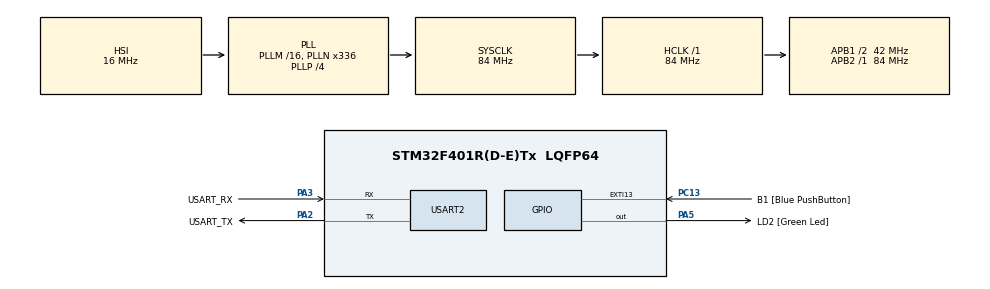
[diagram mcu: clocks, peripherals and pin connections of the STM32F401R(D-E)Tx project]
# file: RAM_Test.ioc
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Mcu.Family=STM32F4
Mcu.Name=STM32F401R(D-E)Tx
Mcu.Package=LQFP64
NVIC.PriorityGroup=NVIC_PRIORITYGROUP_0
PA13.GPIO_Label=TMS
PA13.Mode=Serial_Wire
PA13.Signal=SYS_JTMS-SWDIO
PA14.GPIO_Label=TCK
PA14.Mode=Serial_Wire
PA14.Signal=SYS_JTCK-SWCLK
PA2.GPIO_Label=USART_TX
PA2.GPIO_Mode=GPIO_MODE_AF_PP
PA2.GPIO_PuPd=GPIO_NOPULL
PA2.GPIO_Speed=GPIO_SPEED_FREQ_LOW
PA2.Mode=Asynchronous
PA2.Signal=USART2_TX
PA3.GPIO_Label=USART_RX
PA3.GPIO_Mode=GPIO_MODE_AF_PP
PA3.GPIO_PuPd=GPIO_NOPULL
PA3.GPIO_Speed=GPIO_SPEED_FREQ_LOW
PA3.Mode=Asynchronous
PA3.Signal=USART2_RX
PA5.GPIO_Label=LD2 [Green Led]
PA5.GPIO_Mode=GPIO_MODE_OUTPUT_PP
PA5.GPIO_PuPd=GPIO_NOPULL
PA5.GPIO_Speed=GPIO_SPEED_FREQ_LOW
PA5.Signal=GPIO_Output
PB3.GPIO_Label=SWO
PB3.Signal=SYS_JTDO-SWO
PC13-ANTI_TAMP.GPIO_Label=B1 [Blue PushButton]
PC13-ANTI_TAMP.GPIO_ModeDefaultEXTI=GPIO_MODE_IT_FALLING
PC13-ANTI_TAMP.GPIO_PuPd=GPIO_NOPULL
PC13-ANTI_TAMP.Signal=GPXTI13
PC14-OSC32_IN.Mode=LSE-External-Oscillator
PC14-OSC32_IN.Signal=RCC_OSC32_IN
PC15-OSC32_OUT.Mode=LSE-External-Oscillator
PC15-OSC32_OUT.Signal=RCC_OSC32_OUT
PH0\ -\ OSC_IN.Mode=HSE-External-Clock-Source
PH0\ -\ OSC_IN.Signal=RCC_OSC_IN
PH1\ -\ OSC_OUT.Mode=HSE-External-Clock-Source
PH1\ -\ OSC_OUT.Signal=RCC_OSC_OUT
ProjectManager.HeapSize=0x200
ProjectManager.StackSize=0x400
ProjectManager.TargetToolchain=STM32CubeIDE
RCC.48MHZClocksFreq_Value=48000000
RCC.AHBFreq_Value=84000000
RCC.APB1CLKDivider=RCC_HCLK_DIV2
RCC.APB1Freq_Value=42000000
RCC.APB1TimFreq_Value=84000000
RCC.APB2Freq_Value=84000000
RCC.APB2TimFreq_Value=84000000
RCC.CortexFreq_Value=84000000
RCC.HCLKFreq_Value=84000000
RCC.HSE_VALUE=8000000
RCC.HSI_VALUE=16000000
RCC.PLLN=336
RCC.PLLP=RCC_PLLP_DIV4
RCC.PLLQ=7
RCC.SYSCLKFreq_VALUE=84000000
RCC.SYSCLKSource=RCC_SYSCLKSOURCE_PLLCLK
RCC.VCOOutputFreq_Value=336000000
USART2.VirtualMode=VM_ASYNC
board=NUCLEO-F401RE

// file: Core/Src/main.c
/* USER CODE BEGIN Header */
/**
  ******************************************************************************
  * @file           : main.c
  * @brief          : Main program body
  ******************************************************************************
  * @attention
  *
  * Copyright (c) 2024 STMicroelectronics.
  * All rights reserved.
  *
  * This software is licensed under terms that can be found in the LICENSE file
  * in the root directory of this software component.
  * If no LICENSE file comes with this software, it is provided AS-IS.
  *
  ******************************************************************************
  */
/* USER CODE END Header */
#include "main.h"

/* USER CODE BEGIN PD */
#define RAM_START_ADDR  ((uint32_t)0x20000000)  // Start address of SRAM for STM32F4 series
#define RAM_END_ADDR    ((uint32_t)0x20017FFF)  // End address of SRAM for STM32F4 series (128 KB)
/* USER CODE END PD */

UART_HandleTypeDef huart2;

void SystemClock_Config(void);
static void MX_GPIO_Init(void);
static void MX_USART2_UART_Init(void);
/* USER CODE BEGIN PFP */
void RAM_MarchC_Test(void);
/* USER CODE END PFP */

int main(void)
{

  /* MCU Configuration--------------------------------------------------------*/

  /* Reset of all peripherals, Initializes the Flash interface and the Systick. */
  HAL_Init();

  /* Configure the system clock */
  SystemClock_Config();

  /* Initialize all configured peripherals */
  MX_GPIO_Init();
  MX_USART2_UART_Init();
  /* USER CODE BEGIN 2 */
  RAM_MarchC_Test();  // Run RAM March C test
  printf("succes");
  /* USER CODE END 2 */

  /* Infinite loop */
  while (1)
  {

  }
}

void SystemClock_Config(void)
{
  RCC_OscInitTypeDef RCC_OscInitStruct = {0};
  RCC_ClkInitTypeDef RCC_ClkInitStruct = {0};

  /** Configure the main internal regulator output voltage
  */
  __HAL_RCC_PWR_CLK_ENABLE();
  __HAL_PWR_VOLTAGESCALING_CONFIG(PWR_REGULATOR_VOLTAGE_SCALE2);

  /** Initializes the RCC Oscillators according to the specified parameters
  * in the RCC_OscInitTypeDef structure.
  */
  RCC_OscInitStruct.OscillatorType = RCC_OSCILLATORTYPE_HSI;
  RCC_OscInitStruct.HSIState = RCC_HSI_ON;
  RCC_OscInitStruct.HSICalibrationValue = RCC_HSICALIBRATION_DEFAULT;
  RCC_OscInitStruct.PLL.PLLState = RCC_PLL_ON;
  RCC_OscInitStruct.PLL.PLLSource = RCC_PLLSOURCE_HSI;
  RCC_OscInitStruct.PLL.PLLM = 16;
  RCC_OscInitStruct.PLL.PLLN = 336;
  RCC_OscInitStruct.PLL.PLLP = RCC_PLLP_DIV4;
  RCC_OscInitStruct.PLL.PLLQ = 7;
  if (HAL_RCC_OscConfig(&RCC_OscInitStruct) != HAL_OK)
  {
    Error_Handler();
  }

  /** Initializes the CPU, AHB and APB buses clocks
  */
  RCC_ClkInitStruct.ClockType = RCC_CLOCKTYPE_HCLK|RCC_CLOCKTYPE_SYSCLK
                              |RCC_CLOCKTYPE_PCLK1|RCC_CLOCKTYPE_PCLK2;
  RCC_ClkInitStruct.SYSCLKSource = RCC_SYSCLKSOURCE_PLLCLK;
  RCC_ClkInitStruct.AHBCLKDivider = RCC_SYSCLK_DIV1;
  RCC_ClkInitStruct.APB1CLKDivider = RCC_HCLK_DIV2;
  RCC_ClkInitStruct.APB2CLKDivider = RCC_HCLK_DIV1;

  if (HAL_RCC_ClockConfig(&RCC_ClkInitStruct, FLASH_LATENCY_2) != HAL_OK)
  {
    Error_Handler();
  }
}

static void MX_USART2_UART_Init(void)
{

  huart2.Instance = USART2;
  huart2.Init.BaudRate = 115200;
  huart2.Init.WordLength = UART_WORDLENGTH_8B;
  huart2.Init.StopBits = UART_STOPBITS_1;
  huart2.Init.Parity = UART_PARITY_NONE;
  huart2.Init.Mode = UART_MODE_TX_RX;
  huart2.Init.HwFlowCtl = UART_HWCONTROL_NONE;
  huart2.Init.OverSampling = UART_OVERSAMPLING_16;
  if (HAL_UART_Init(&huart2) != HAL_OK)
  {
    Error_Handler();
  }

}

static void MX_GPIO_Init(void)
{
  GPIO_InitTypeDef GPIO_InitStruct = {0};

  /* GPIO Ports Clock Enable */
  __HAL_RCC_GPIOC_CLK_ENABLE();
  __HAL_RCC_GPIOH_CLK_ENABLE();
  __HAL_RCC_GPIOA_CLK_ENABLE();
  __HAL_RCC_GPIOB_CLK_ENABLE();

  /*Configure GPIO pin Output Level */
  HAL_GPIO_WritePin(LD2_GPIO_Port, LD2_Pin, GPIO_PIN_RESET);

  /*Configure GPIO pin : B1_Pin */
  GPIO_InitStruct.Pin = B1_Pin;
  GPIO_InitStruct.Mode = GPIO_MODE_IT_FALLING;
  GPIO_InitStruct.Pull = GPIO_NOPULL;
  HAL_GPIO_Init(B1_GPIO_Port, &GPIO_InitStruct);

  /*Configure GPIO pin : LD2_Pin */
  GPIO_InitStruct.Pin = LD2_Pin;
  GPIO_InitStruct.Mode = GPIO_MODE_OUTPUT_PP;
  GPIO_InitStruct.Pull = GPIO_NOPULL;
  GPIO_InitStruct.Speed = GPIO_SPEED_FREQ_LOW;
  HAL_GPIO_Init(LD2_GPIO_Port, &GPIO_InitStruct);

}

/* USER CODE BEGIN 4 */
int __io_putchar(int ch)
{
  HAL_UART_Transmit(&huart2, (uint8_t *)&ch, 1, 0xFFFF);
  return ch;
}
void RAM_MarchC_Test(void)
{
    uint32_t *address;
    uint32_t data;

    // March C- test: write 0 to all cells, read 0 and write 1, read 1 and write 0
    // Step 1: Write 0 to all memory cells
    for (address = (uint32_t *)RAM_START_ADDR; address < (uint32_t *)RAM_END_ADDR; address++) {
        *address = 0x00000000;
    }

    // Step 2: Read 0 and write 1 to all memory cells
    for (address = (uint32_t *)RAM_START_ADDR; address < (uint32_t *)RAM_END_ADDR; address++) {
        data = *address;           // Read memory cell (expecting 0)
        if (data != 0x00000000) {  // Error: Memory cell is not 0
            // Handle error (e.g., log, halt, etc.)
            while(1);  // Trap here for error
        }
        *address = 0xFFFFFFFF;     // Write 1 to memory cell
    }

    // Step 3: Read 1 and write 0 to all memory cells
    for (address = (uint32_t *)RAM_START_ADDR; address < (uint32_t *)RAM_END_ADDR; address++) {
        data = *address;           // Read memory cell (expecting 1)
        if (data != 0xFFFFFFFF) {  // Error: Memory cell is not 1
            // Handle error (e.g., log, halt, etc.)
            while(1);  // Trap here for error
        }
        *address = 0x00000000;     // Write 0 to memory cell
    }

    // Step 4: Read 0 to all memory cells
    for (address = (uint32_t *)RAM_START_ADDR; address < (uint32_t *)RAM_END_ADDR; address++) {
        data = *address;           // Read memory cell (expecting 0)
        if (data != 0x00000000) {  // Error: Memory cell is not 0
            // Handle error (e.g., log, halt, etc.)
            while(1);  // Trap here for error
        }
    }

    // If code execution reaches here, the RAM test passed
}
/* USER CODE END 4 */

void Error_Handler(void)
{
  __disable_irq();
  while (1)
  {
  }
}
